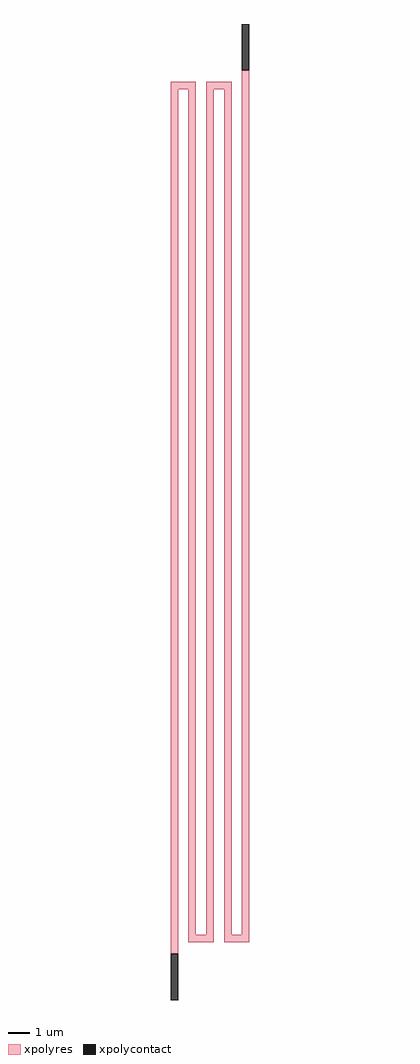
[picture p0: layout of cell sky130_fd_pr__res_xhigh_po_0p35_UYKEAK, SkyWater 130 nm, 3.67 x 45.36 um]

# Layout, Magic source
magic
tech sky130A
magscale 1 2
<< xpolycontact >>
rect 297 4104 367 4536
rect -367 -4536 -297 -4104
<< xpolyres >>
rect -367 3930 -131 4000
rect -367 -4104 -297 3930
rect -201 -3930 -131 3930
rect -35 3930 201 4000
rect -35 -3930 35 3930
rect -201 -4000 35 -3930
rect 131 -3930 201 3930
rect 297 -3930 367 4104
rect 131 -4000 367 -3930
<< properties >>
string gencell sky130_fd_pr__res_xhigh_po_0p35
string library sky130
string parameters w 0.35 l 40 m 1 nx 5 wmin 0.350 lmin 0.50 rho 2000 val 1.151meg dummy 0 dw 0.0 term 188.2 sterm 0.0 caplen 0 wmax 0.350 guard 0 glc 0 grc 0 gtc 0 gbc 0 compatible {sky130_fd_pr__res_xhigh_po_0p35  sky130_fd_pr__res_xhigh_po_0p69 sky130_fd_pr__res_xhigh_po_1p41  sky130_fd_pr__res_xhigh_po_2p85 sky130_fd_pr__res_xhigh_po_5p73} snake 1 full_metal 0 n_guard 0 hv_guard 0 vias 0 viagb 0 viagt 0 viagl 0 viagr 0
string sky130_fd_pr__res_xhigh_po_0p35_UYKEAK parameters
<< end >>
